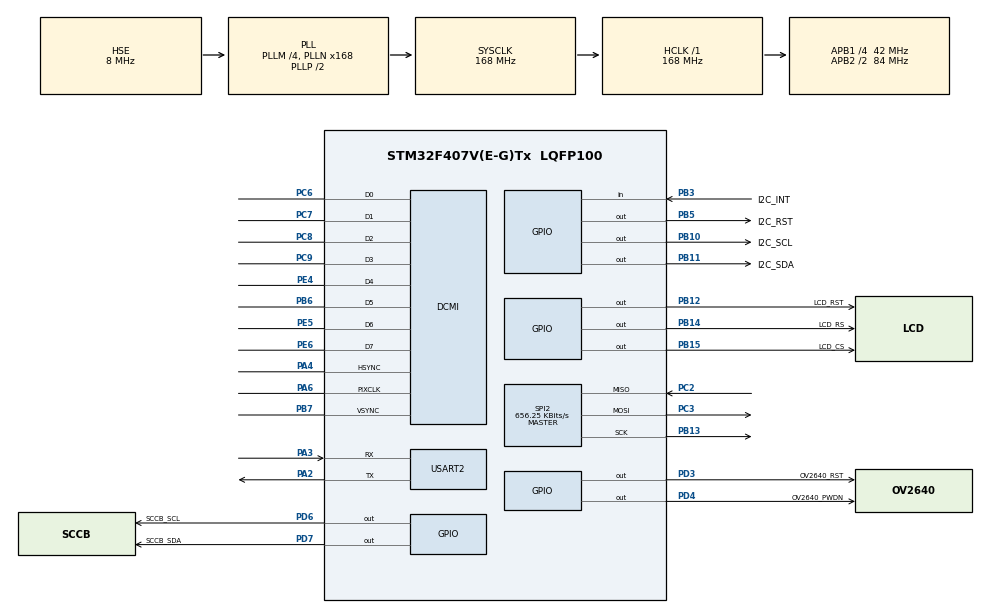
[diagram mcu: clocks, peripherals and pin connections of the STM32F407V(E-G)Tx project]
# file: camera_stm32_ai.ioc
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DCMI.PCKPolarity=DCMI_PCKPOLARITY_RISING
Dma.DCMI.0.Direction=DMA_PERIPH_TO_MEMORY
Dma.DCMI.0.FIFOMode=DMA_FIFOMODE_ENABLE
Dma.DCMI.0.FIFOThreshold=DMA_FIFO_THRESHOLD_HALFFULL
Dma.DCMI.0.Instance=DMA2_Stream1
Dma.DCMI.0.MemBurst=DMA_MBURST_SINGLE
Dma.DCMI.0.MemDataAlignment=DMA_MDATAALIGN_HALFWORD
Dma.DCMI.0.MemInc=DMA_MINC_ENABLE
Dma.DCMI.0.Mode=DMA_CIRCULAR
Dma.DCMI.0.PeriphBurst=DMA_PBURST_SINGLE
Dma.DCMI.0.PeriphDataAlignment=DMA_PDATAALIGN_WORD
Dma.DCMI.0.PeriphInc=DMA_PINC_DISABLE
Dma.DCMI.0.Priority=DMA_PRIORITY_HIGH
Dma.Request0=DCMI
Mcu.Family=STM32F4
Mcu.Name=STM32F407V(E-G)Tx
Mcu.Package=LQFP100
NVIC.DCMI_IRQn=true\:0\:0\:false\:false\:true\:true\:true\:true
NVIC.DMA2_Stream1_IRQn=true\:0\:0\:false\:false\:true\:false\:true\:true
NVIC.PriorityGroup=NVIC_PRIORITYGROUP_4
PA13.Mode=Serial_Wire
PA13.Signal=SYS_JTMS-SWDIO
PA14.Mode=Serial_Wire
PA14.Signal=SYS_JTCK-SWCLK
PA2.Mode=Asynchronous
PA2.Signal=USART2_TX
PA3.Mode=Asynchronous
PA3.Signal=USART2_RX
PA4.Mode=Slave_8_bits_External_Synchro
PA4.Signal=DCMI_HSYNC
PA6.Mode=Slave_8_bits_External_Synchro
PA6.Signal=DCMI_PIXCLK
PB10.GPIO_Label=I2C_SCL
PB10.GPIO_ModeDefaultOutputPP=GPIO_MODE_OUTPUT_PP
PB10.GPIO_PuPd=GPIO_PULLUP
PB10.GPIO_Speed=GPIO_SPEED_FREQ_VERY_HIGH
PB10.PinState=GPIO_PIN_SET
PB10.Signal=GPIO_Output
PB11.GPIO_Label=I2C_SDA
PB11.GPIO_ModeDefaultOutputPP=GPIO_MODE_OUTPUT_PP
PB11.GPIO_PuPd=GPIO_PULLUP
PB11.GPIO_Speed=GPIO_SPEED_FREQ_VERY_HIGH
PB11.PinState=GPIO_PIN_SET
PB11.Signal=GPIO_Output
PB12.GPIO_Label=LCD_RST
PB12.GPIO_ModeDefaultOutputPP=GPIO_MODE_OUTPUT_PP
PB12.GPIO_PuPd=GPIO_PULLUP
PB12.GPIO_Speed=GPIO_SPEED_FREQ_VERY_HIGH
PB12.PinState=GPIO_PIN_SET
PB12.Signal=GPIO_Output
PB13.Mode=Full_Duplex_Master
PB13.Signal=SPI2_SCK
PB14.GPIO_Label=LCD_RS
PB14.GPIO_PuPd=GPIO_PULLUP
PB14.GPIO_Speed=GPIO_SPEED_FREQ_VERY_HIGH
PB14.PinState=GPIO_PIN_SET
PB14.Signal=GPIO_Output
PB15.GPIO_Label=LCD_CS
PB15.GPIO_ModeDefaultOutputPP=GPIO_MODE_OUTPUT_PP
PB15.GPIO_PuPd=GPIO_PULLUP
PB15.GPIO_Speed=GPIO_SPEED_FREQ_VERY_HIGH
PB15.PinState=GPIO_PIN_SET
PB15.Signal=GPIO_Output
PB3.GPIO_Label=I2C_INT
PB3.GPIO_PuPd=GPIO_PULLUP
PB3.Signal=GPIO_Input
PB5.GPIO_Label=I2C_RST
PB5.GPIO_ModeDefaultOutputPP=GPIO_MODE_OUTPUT_PP
PB5.GPIO_PuPd=GPIO_PULLUP
PB5.GPIO_Speed=GPIO_SPEED_FREQ_VERY_HIGH
PB5.PinState=GPIO_PIN_SET
PB5.Signal=GPIO_Output
PB6.Mode=Slave_8_bits_External_Synchro
PB6.Signal=DCMI_D5
PB7.Mode=Slave_8_bits_External_Synchro
PB7.Signal=DCMI_VSYNC
PC2.Mode=Full_Duplex_Master
PC2.Signal=SPI2_MISO
PC3.Mode=Full_Duplex_Master
PC3.Signal=SPI2_MOSI
PC6.Mode=Slave_8_bits_External_Synchro
PC6.Signal=DCMI_D0
PC7.Mode=Slave_8_bits_External_Synchro
PC7.Signal=DCMI_D1
PC8.Mode=Slave_8_bits_External_Synchro
PC8.Signal=DCMI_D2
PC9.Mode=Slave_8_bits_External_Synchro
PC9.Signal=DCMI_D3
PD3.GPIO_Label=OV2640_RST
PD3.GPIO_ModeDefaultOutputPP=GPIO_MODE_OUTPUT_PP
PD3.GPIO_PuPd=GPIO_PULLUP
PD3.GPIO_Speed=GPIO_SPEED_FREQ_VERY_HIGH
PD3.PinState=GPIO_PIN_SET
PD3.Signal=GPIO_Output
PD4.GPIO_Label=OV2640_PWDN
PD4.GPIO_ModeDefaultOutputPP=GPIO_MODE_OUTPUT_PP
PD4.GPIO_PuPd=GPIO_PULLUP
PD4.GPIO_Speed=GPIO_SPEED_FREQ_VERY_HIGH
PD4.PinState=GPIO_PIN_SET
PD4.Signal=GPIO_Output
PD6.GPIO_Label=SCCB_SCL
PD6.GPIO_PuPd=GPIO_PULLUP
PD6.GPIO_Speed=GPIO_SPEED_FREQ_VERY_HIGH
PD6.PinState=GPIO_PIN_SET
PD6.Signal=GPIO_Output
PD7.GPIO_Label=SCCB_SDA
PD7.GPIO_ModeDefaultOutputPP=GPIO_MODE_OUTPUT_PP
PD7.GPIO_PuPd=GPIO_PULLUP
PD7.GPIO_Speed=GPIO_SPEED_FREQ_VERY_HIGH
PD7.PinState=GPIO_PIN_SET
PD7.Signal=GPIO_Output
PE4.Mode=Slave_8_bits_External_Synchro
PE4.Signal=DCMI_D4
PE5.Mode=Slave_8_bits_External_Synchro
PE5.Signal=DCMI_D6
PE6.Mode=Slave_8_bits_External_Synchro
PE6.Signal=DCMI_D7
PH0-OSC_IN.Mode=HSE-External-Oscillator
PH0-OSC_IN.Signal=RCC_OSC_IN
PH1-OSC_OUT.Mode=HSE-External-Oscillator
PH1-OSC_OUT.Signal=RCC_OSC_OUT
ProjectManager.HeapSize=0x8000
ProjectManager.StackSize=0x10000
ProjectManager.TargetToolchain=MDK-ARM V5.32
RCC.48MHZClocksFreq_Value=84000000
RCC.AHBFreq_Value=168000000
RCC.APB1CLKDivider=RCC_HCLK_DIV4
RCC.APB1Freq_Value=42000000
RCC.APB1TimFreq_Value=84000000
RCC.APB2CLKDivider=RCC_HCLK_DIV2
RCC.APB2Freq_Value=84000000
RCC.APB2TimFreq_Value=168000000
RCC.CortexFreq_Value=168000000
RCC.HCLKFreq_Value=168000000
RCC.HSE_VALUE=8000000
RCC.HSI_VALUE=16000000
RCC.LSE_VALUE=32768
RCC.PLLM=4
RCC.PLLN=168
RCC.PLLSourceVirtual=RCC_PLLSOURCE_HSE
RCC.SYSCLKFreq_VALUE=168000000
RCC.SYSCLKSource=RCC_SYSCLKSOURCE_PLLCLK
RCC.VCOOutputFreq_Value=336000000
SPI2.BaudRatePrescaler=SPI_BAUDRATEPRESCALER_64
SPI2.CLKPhase=SPI_PHASE_2EDGE
SPI2.CLKPolarity=SPI_POLARITY_HIGH
SPI2.CalculateBaudRate=656.25 KBits/s
SPI2.Direction=SPI_DIRECTION_2LINES
SPI2.Mode=SPI_MODE_MASTER
SPI2.VirtualType=VM_MASTER
USART2.VirtualMode=VM_ASYNC
board=custom

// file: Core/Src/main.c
/* USER CODE BEGIN Header */
/**
  ******************************************************************************
  * @file           : main.c
  * @brief          : Main program body
  ******************************************************************************
  * @attention
  *
  * Copyright (c) 2026 STMicroelectronics.
  * All rights reserved.
  *
  * This software is licensed under terms that can be found in the LICENSE file
  * in the root directory of this software component.
  * If no LICENSE file comes with this software, it is provided AS-IS.
  *
  ******************************************************************************
  */
/* USER CODE END Header */
#include "main.h"
#include "dcmi.h"
#include "dma.h"
#include "spi.h"
#include "usart.h"
#include "gpio.h"

/* USER CODE BEGIN Includes */
#include "lcd_ILI9341V.h"
#include "lv_port_disp_template.h"
#include "lv_port_indev_template.h"
#include "ov2640.h"
#include "stdio.h"
/* USER CODE END Includes */

/* USER CODE BEGIN PV */
// 摄像头图像显示对象
static lv_obj_t *camera_img = NULL;
static lv_timer_t *camera_timer = NULL;
static uint8_t camera_running = 0;

// 图像描述符
static lv_img_dsc_t camera_img_dsc;
/* USER CODE END PV */

void SystemClock_Config(void);
/* USER CODE BEGIN PFP */
static void Camera_InitUI(void);
static void Camera_UpdateFrame(lv_timer_t *timer);
static void Camera_Start(void);
static void Camera_Stop(void);
/* USER CODE END PFP */

/* USER CODE BEGIN 0 */

// 重定向printf到串口2
//int fputc(int ch, FILE *f) {
//    HAL_UART_Transmit(&huart2, (uint8_t *)&ch, 1, 0xffff);
//    return ch;
//}

/* USER CODE END 0 */

int main(void)
{

  /* MCU Configuration--------------------------------------------------------*/

  /* Reset of all peripherals, Initializes the Flash interface and the Systick. */
  HAL_Init();

  /* Configure the system clock */
  SystemClock_Config();

  /* Initialize all configured peripherals */
  MX_GPIO_Init();
  MX_DMA_Init();
  MX_DCMI_Init();
  MX_SPI2_Init();
  MX_USART2_UART_Init();
  /* USER CODE BEGIN 2 */
	    printf("goX\r\n");
	// 初始化LVGL
	lv_init();
	lv_port_disp_init();

	// 初始化OV2640摄像头
	OV2640_Init();

	// 检查摄像头状态
	if (OV2640_GetStatus() == OV2640_STATUS_READY) {
		// 获取并显示传感器ID
		uint8_t id_h, id_l;
		OV2640_GetSensorID(&id_h, &id_l);

		// 创建ID显示标签
		lv_obj_t *id_label = lv_label_create(lv_scr_act());
		char id_str[32];
		sprintf(id_str, "Camera ID: 0x%02X%02X", id_h, id_l);
		lv_label_set_text(id_label, id_str);
		lv_obj_align(id_label, LV_ALIGN_TOP_LEFT, 10, 10);

		// 创建摄像头显示界面
		Camera_InitUI();
		// 启动摄像头显示
		Camera_Start();
	} else {
		// 摄像头初始化失败，显示错误信息
		lv_obj_t *label = lv_label_create(lv_scr_act());
		lv_label_set_text(label, "Camera Init Failed!");
		lv_obj_center(label);

		// 显示读取到的ID
		uint8_t id_h, id_l;
		OV2640_GetSensorID(&id_h, &id_l);
		lv_obj_t *id_label = lv_label_create(lv_scr_act());
		char id_str[32];
		sprintf(id_str, "Read ID: 0x%02X%02X", id_h, id_l);
		lv_label_set_text(id_label, id_str);
		lv_obj_align(id_label, LV_ALIGN_TOP_LEFT, 10, 10);
	}

  /* USER CODE END 2 */

  /* Infinite loop */
  while (1)
  {

    /* USER CODE BEGIN 3 */
		lv_timer_handler();
		HAL_Delay(5);
  }
  /* USER CODE END 3 */
}

void SystemClock_Config(void)
{
  RCC_OscInitTypeDef RCC_OscInitStruct = {0};
  RCC_ClkInitTypeDef RCC_ClkInitStruct = {0};

  /** Configure the main internal regulator output voltage
  */
  __HAL_RCC_PWR_CLK_ENABLE();
  __HAL_PWR_VOLTAGESCALING_CONFIG(PWR_REGULATOR_VOLTAGE_SCALE1);

  /** Initializes the RCC Oscillators according to the specified parameters
  * in the RCC_OscInitTypeDef structure.
  */
  RCC_OscInitStruct.OscillatorType = RCC_OSCILLATORTYPE_HSE;
  RCC_OscInitStruct.HSEState = RCC_HSE_ON;
  RCC_OscInitStruct.PLL.PLLState = RCC_PLL_ON;
  RCC_OscInitStruct.PLL.PLLSource = RCC_PLLSOURCE_HSE;
  RCC_OscInitStruct.PLL.PLLM = 4;
  RCC_OscInitStruct.PLL.PLLN = 168;
  RCC_OscInitStruct.PLL.PLLP = RCC_PLLP_DIV2;
  RCC_OscInitStruct.PLL.PLLQ = 4;
  if (HAL_RCC_OscConfig(&RCC_OscInitStruct) != HAL_OK)
  {
    Error_Handler();
  }

  /** Initializes the CPU, AHB and APB buses clocks
  */
  RCC_ClkInitStruct.ClockType = RCC_CLOCKTYPE_HCLK|RCC_CLOCKTYPE_SYSCLK
                              |RCC_CLOCKTYPE_PCLK1|RCC_CLOCKTYPE_PCLK2;
  RCC_ClkInitStruct.SYSCLKSource = RCC_SYSCLKSOURCE_PLLCLK;
  RCC_ClkInitStruct.AHBCLKDivider = RCC_SYSCLK_DIV1;
  RCC_ClkInitStruct.APB1CLKDivider = RCC_HCLK_DIV4;
  RCC_ClkInitStruct.APB2CLKDivider = RCC_HCLK_DIV2;

  if (HAL_RCC_ClockConfig(&RCC_ClkInitStruct, FLASH_LATENCY_5) != HAL_OK)
  {
    Error_Handler();
  }
}

/* USER CODE BEGIN 4 */

// 初始化摄像头显示界面
static void Camera_InitUI(void) {
	// 设置背景为黑色
	lv_obj_set_style_bg_color(lv_scr_act(), lv_color_hex(0x000000), 0);

	// 测试LCD是否工作正常，显示一个红色矩形
	lv_obj_t *test_rect = lv_obj_create(lv_scr_act());
	lv_obj_set_pos(test_rect, 50, 50);
	lv_obj_set_size(test_rect, 100, 100);
	lv_obj_set_style_bg_color(test_rect, lv_color_hex(0xFF0000), 0);

	// 固定使用40x40的显示框
	uint16_t width = 40;
	uint16_t height = 40;

	// 初始化图像描述符
	camera_img_dsc.header.always_zero = 0;
	camera_img_dsc.header.w = width;
	camera_img_dsc.header.h = height;
	camera_img_dsc.header.cf = LV_IMG_CF_TRUE_COLOR;
	camera_img_dsc.data_size = width * height * 2;
	camera_img_dsc.data = NULL; // 将在捕获后设置

	// 创建图像对象
	camera_img = lv_img_create(lv_scr_act());
	lv_obj_set_pos(camera_img, 10, 120); // 左上角10,120位置（避免与红色矩形重叠）
	lv_obj_set_size(camera_img, width, height); // 设置为40x40大小

	// 确保图像对象的样式正确
	lv_obj_set_style_img_opa(camera_img, LV_OPA_100, 0);
}

// 更新摄像头帧
static void Camera_UpdateFrame(lv_timer_t *timer) {
	if (!camera_running) {
		return;
	}

	// 检查是否有新的帧准备好
	if (OV2640_IsFrameReady()) {
		printf("Frame ready, updating display\r\n");

		// 获取图像缓冲区
		uint8_t *buffer = OV2640_GetBuffer();
		if (buffer != NULL) {
			printf("Buffer address: 0x%p\r\n", buffer);

			// 更新图像描述符的数据指针
			camera_img_dsc.data = buffer;

			// 设置图像源
			lv_img_set_src(camera_img, &camera_img_dsc);

			// 刷新显示
			lv_obj_invalidate(camera_img);

			printf("Display updated\r\n");
		} else {
			printf("Buffer is NULL\r\n");
		}

		// 清除帧就绪标志
		OV2640_ClearFrameReady();

		// 启动下一次捕获
		OV2640_StartCapture();
	}
}

// 启动摄像头显示
static void Camera_Start(void) {
	if (camera_running) {
		return;
	}

	camera_running = 1;

	// 启动第一次捕获
	OV2640_StartCapture();

	// 创建定时器用于更新显示 (30fps)
	camera_timer = lv_timer_create(Camera_UpdateFrame, 33, NULL);
}

// 停止摄像头显示
static void Camera_Stop(void) {
	camera_running = 0;

	// 删除定时器
	if (camera_timer != NULL) {
		lv_timer_del(camera_timer);
		camera_timer = NULL;
	}

	// 停止摄像头捕获
	OV2640_StopCapture();
}

// DCMI帧中断回调函数
void HAL_DCMI_FrameEventCallback(DCMI_HandleTypeDef *hdcmi) {
	printf("DCMI Frame Event Callback triggered\r\n");
	// 调用OV2640的帧就绪处理函数
	OV2640_OnFrameReady();
}

/* USER CODE END 4 */

void Error_Handler(void)
{
  __disable_irq();
  while (1)
  {
  }
}
